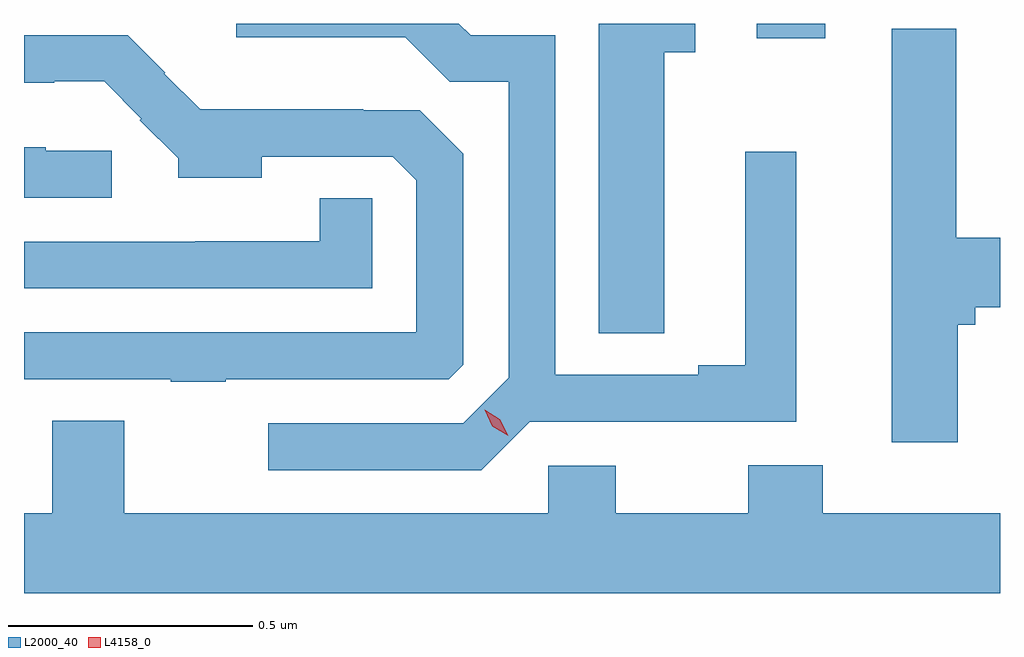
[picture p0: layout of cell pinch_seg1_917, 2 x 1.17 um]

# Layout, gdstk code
import gdstk
lib = gdstk.Library(unit=1e-6, precision=1e-09)
def R(c, l, rs):  # rectangles x0, y0, x1, y1
    for r in rs: c.add(gdstk.rectangle(r[:2], r[2:], *l))
def P(c, l, *ps):  # polygons
    for p in ps: c.add(gdstk.Polygon(p, *l))
L2000_40 = (2000, 40)
L4158_0 = (4158, 0)

pinch_seg1_917 = lib.new_cell('pinch_seg1_917')
R(pinch_seg1_917, L2000_40, [(515.81,507.582,515.95,507.612)])
P(pinch_seg1_917, L2000_40, [(515.62,507.553),(515.683,507.553),(515.683,507.612),(515.486,507.612),(515.486,506.977),(515.62,506.977)],
  [(515.344,506.796),(515.89,506.796),(515.89,507.349),(515.786,507.349),(515.786,506.912),(515.69,506.912),(515.69,506.892),(515.397,506.892),(515.397,507.588),(515.223,507.588),(515.199,507.612),(514.743,507.612),(514.743,507.584),(515.089,507.584),(515.18,507.493),(515.301,507.493),(515.301,506.886),(515.208,506.793),(514.809,506.793),(514.809,506.697),(515.245,506.697)],
  [(516.221,506.995),(516.257,506.995),(516.257,507.031),(516.308,507.031),(516.308,507.173),(516.218,507.173),(516.218,507.601),(516.086,507.601),(516.086,506.754),(516.221,506.754)],
  [(514.721,506.883),(515.178,506.883),(515.208,506.913),(515.208,507.345),(515.119,507.434),(515.003,507.434),(515.003,507.436),(514.669,507.436),(514.595,507.509),(514.597,507.511),(514.521,507.588),(514.308,507.588),(514.308,507.491),(514.37,507.491),(514.37,507.494),(514.472,507.494),(514.548,507.417),(514.545,507.414),(514.624,507.336),(514.624,507.296),(514.795,507.296),(514.795,507.339),(515.064,507.339),(515.112,507.291),(515.112,506.979),(514.308,506.979),(514.308,506.883),(514.609,506.883),(514.609,506.878),(514.721,506.878)],
  [(514.488,507.351),(514.353,507.351),(514.353,507.358),(514.308,507.358),(514.308,507.255),(514.488,507.255)],
  [(515.022,507.254),(514.914,507.254),(514.914,507.166),(514.659,507.166),(514.659,507.165),(514.308,507.165),(514.308,507.069),(515.022,507.069)],
  [(516.308,506.608),(515.945,506.608),(515.945,506.707),(515.792,506.707),(515.792,506.608),(515.521,506.608),(515.521,506.706),(515.382,506.706),(515.382,506.608),(514.513,506.608),(514.513,506.798),(514.366,506.798),(514.366,506.608),(514.308,506.608),(514.308,506.444),(516.308,506.444)])
P(pinch_seg1_917, L4158_0, [(515.3,506.767),(515.268,506.787),(515.252,506.821),(515.252,506.821),(515.252,506.821),(515.283,506.801),(515.3,506.767),(515.3,506.767)])

lib.write_gds('pinch_seg1_917.gds')
